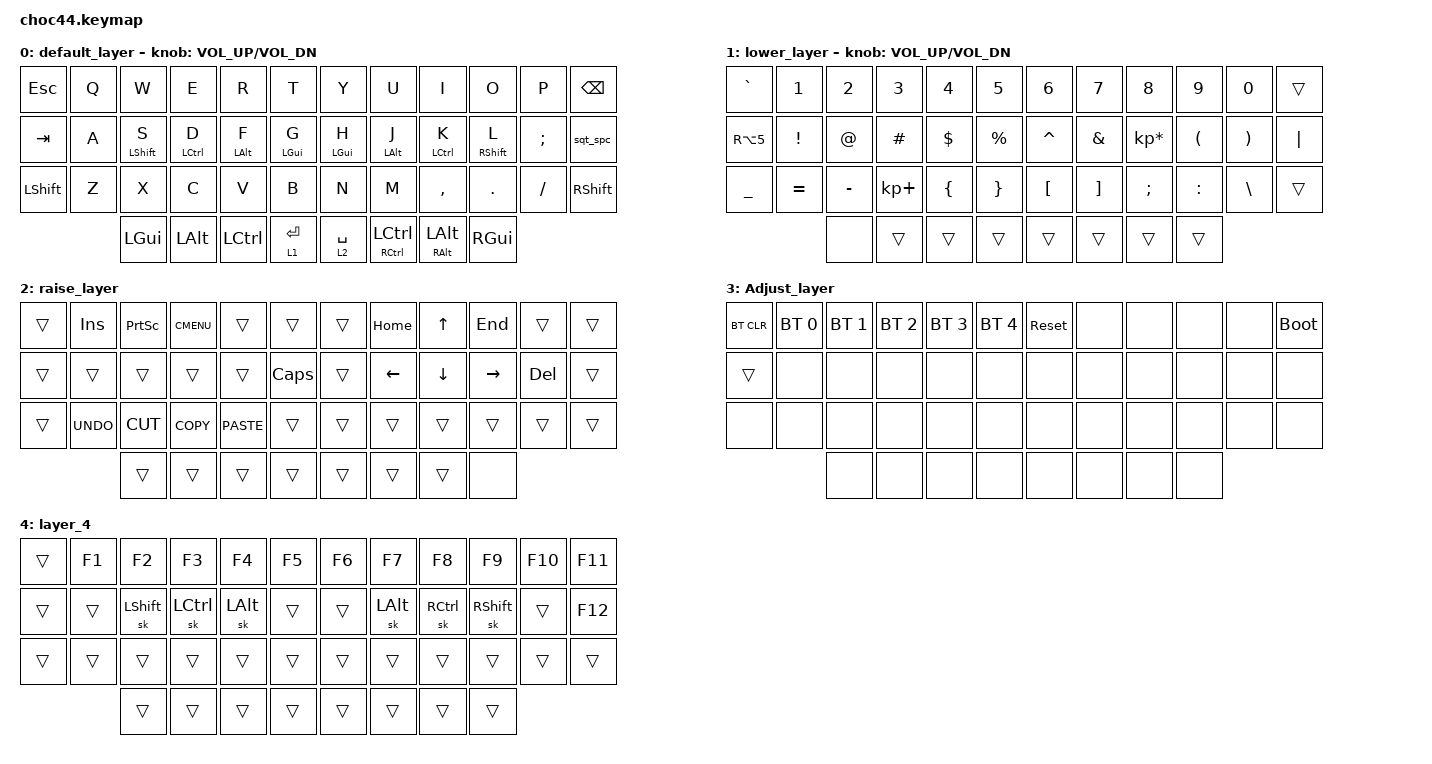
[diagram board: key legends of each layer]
/*
 * Copyright (c) 2020 The ZMK Contributors
 *
 * SPDX-License-Identifier: MIT
 */

#include <behaviors.dtsi>
#include <dt-bindings/zmk/bt.h>
#include <dt-bindings/zmk/keys.h>

#define BASE 0
#define LOWER 1
#define RAISE 2
#define ADJUST 3

&sl { ignore-modifiers; };

/ {
    conditional_layers {
        compatible = "zmk,conditional-layers";

        adjust_layer {
            if-layers = <1 2>;
            then-layer = <3>;
        };
    };

    combos {
        compatible = "zmk,combos";

        ae_umlaut {
            bindings = <&kp RA(Q)>;
            key-positions = <13 14>;
            layers = <0>;
            timeout-ms = <30>;
        };

        szet {
            bindings = <&kp RA(S)>;
            key-positions = <14 15>;
            timeout-ms = <30>;
        };

        ue_umlaut {
            bindings = <&kp RA(Y)>;
            key-positions = <7 8>;
            timeout-ms = <30>;
        };

        oe_umlaut {
            bindings = <&kp RA(P)>;
            key-positions = <9 10>;
            timeout-ms = <30>;
        };

        f13 {
            bindings = <&kp F13>;
            key-positions = <2 1>;
            timeout-ms = <30>;
        };

        f14 {
            bindings = <&kp F14>;
            key-positions = <3 2>;
            timeout-ms = <30>;
        };

        f15 {
            bindings = <&kp F15>;
            key-positions = <3 4>;
            timeout-ms = <30>;
        };

        f16 {
            bindings = <&kp F16>;
            key-positions = <4 5>;
            timeout-ms = <30>;
        };

        sticky_f_layer {
            bindings = <&sl 4>;
            key-positions = <31 32>;
        };

        sticky_nums {
            bindings = <&sl 1>;
            key-positions = <28 27>;
        };
    };

    macros {
        sqt_spc: sqt_spc {
            compatible = "zmk,behavior-macro";
            #binding-cells = <0>;
            bindings = <&kp SINGLE_QUOTE &kp SPACE>;
            label = "SQT_SPC";
        };
    };

    behaviors {
        hkp_sk: hkp_sk {
            compatible = "zmk,behavior-hold-tap";
            label = "HKP_SK";
            bindings = <&kp>, <&sk>;

            #binding-cells = <2>;
            tapping-term-ms = <200>;
            flavor = "tap-preferred";
        };

        homerow_mods: homerow_mods {
            compatible = "zmk,behavior-hold-tap";
            label = "HOMEROW_MODS";
            bindings = <&kp>, <&kp>;

            #binding-cells = <2>;
            flavor = "tap-preferred";
            require-prior-idle-ms = <125>;
            quick-tap-ms = <200>;
            tapping-term-ms = <200>;
        };
    };

    keymap {
        compatible = "zmk,keymap";

        default_layer {
            // ------------------------------------------------------------------------------------------------------------
            // |  ESC  |  Q  |  W  |  E   |  R   |  T   |                   |  Y   |  U    |  I    |  O   |   P   | BKSPC |
            // |  TAB  |  A  |  S  |  D   |  F   |  G   |                   |  H   |  J    |  K    |  L   |   ;   |   '   |
            // | SHIFT |  Z  |  X  |  C   |  V   |  B   |                   |  N   |  M    |  ,    |  .   |   /   | SHIFT |
            //               | GUI | ALT  | CTRL | LOWER|                   | RAISE| CTRL  | ALT   | GUI  |

            bindings = <
&kp ESC    &kp Q  &kp W                       &kp E                  &kp R                     &kp T                       &kp Y                     &kp U                     &kp I                       &kp O                        &kp P     &kp BSPC
&kp TAB    &kp A  &homerow_mods LEFT_SHIFT S  &homerow_mods LCTRL D  &homerow_mods LEFT_ALT F  &homerow_mods LEFT_GUI G    &homerow_mods LEFT_GUI H  &homerow_mods LEFT_ALT J  &homerow_mods LCTRL K       &homerow_mods RIGHT_SHIFT L  &kp SEMI  &sqt_spc
&kp LSHFT  &kp Z  &kp X                       &kp C                  &kp V                     &kp B                       &kp N                     &kp M                     &kp COMMA                   &kp DOT                      &kp FSLH  &kp RSHFT
                  &kp LGUI                    &kp LALT               &kp LCTRL                 &lt 1 ENTER                 &lt 2 SPACE               &hkp_sk RCTRL LCTRL       &hkp_sk RIGHT_ALT LEFT_ALT  &kp RGUI
            >;

            sensor-bindings = <&inc_dec_kp C_VOL_UP C_VOL_DN>;
        };

        lower_layer {
            // TODO: Some binds are waiting for shifted keycode support.
            // ------------------------------------------------------------------------------------------------------------
            // | `     |   1 |   2 |   3  |   4  |   5  |                   |   6  |   7   |   8   |   9  |    0  |  F12  |
            // |       |  !  |  @  |  #   |  $   |  %   |                   |  ^   |  &    |  *    |  (   |   )   |   |   |
            // |       |  =  |  -  |  +   |  {   |  }   |                   |  [   |  ]    |  ;    |  :   |   \   |       |
            //               |     |      |      |      |                   |      |       |       |      |

            bindings = <
&kp GRAVE       &kp N1     &kp N2     &kp N3       &kp N4    &kp N5       &kp N6     &kp N7    &kp N8           &kp N9     &kp N0    &trans
&kp RA(N5)      &kp EXCL   &kp AT     &kp HASH     &kp DLLR  &kp PRCNT    &kp CARET  &kp AMPS  &kp KP_MULTIPLY  &kp LPAR   &kp RPAR  &kp PIPE
&kp UNDERSCORE  &kp EQUAL  &kp MINUS  &kp KP_PLUS  &kp LBRC  &kp RBRC     &kp LBKT   &kp RBKT  &kp SEMI         &kp COLON  &kp BSLH  &trans
                           &none      &trans       &trans    &trans       &trans     &trans    &trans           &trans
            >;

            sensor-bindings = <&inc_dec_kp C_VOL_UP C_VOL_DN>;
        };

        raise_layer {
            // ------------------------------------------------------------------------------------------------------------
            // |     | INS  | PSCR | GUI   |       |      |                | PGUP |      |   ^   |      |       |       |
            // |     | ALT  | CTRL | SHIFT |       | CAPS |                | PGDN |   <- |   v   |  ->  |  DEL  | BKSPC |
            // |     | UNDO | CUT  | COPY  | PASTE |      |                |      |      |       |      |       |       |
            //              |      |       |       |      |                |      |      |       |      |

            bindings = <
&trans  &kp INS     &kp PSCRN  &kp K_CMENU  &trans       &trans      &trans  &kp HOME  &kp UP    &kp END    &trans   &trans
&trans  &trans      &trans     &trans       &trans       &kp CLCK    &trans  &kp LEFT  &kp DOWN  &kp RIGHT  &kp DEL  &trans
&trans  &kp K_UNDO  &kp K_CUT  &kp K_COPY   &kp K_PASTE  &trans      &trans  &trans    &trans    &trans     &trans   &trans
                    &trans     &trans       &trans       &trans      &trans  &trans    &trans    &none
            >;
        };

        // ------------------------------------------------------------------------------------------------------------
        // |BTCLR | BT1   | BT2   |  BT3  |  BT4  |  BT5  |                |      |      |       |      |       |       |
        // |      |       |       |       |       |       |                |      |      |       |      |       |       |
        // |      |       |       |       |       |       |                |      |      |       |      |       |       |
        //                |       |       |       |       |                |      |      |       |      |

        Adjust_layer {
            bindings = <
&bt BT_CLR  &bt BT_SEL 0  &bt BT_SEL 1  &bt BT_SEL 2  &bt BT_SEL 3  &bt BT_SEL 4    &sys_reset  &none  &none  &none  &none  &bootloader
&trans      &none         &none         &none         &none         &none           &none       &none  &none  &none  &none  &none
&none       &none         &none         &none         &none         &none           &none       &none  &none  &none  &none  &none
                          &none         &none         &none         &none           &none       &none  &none  &none
            >;
        };

        layer_4 {
            bindings = <
&trans  &kp F1  &kp F2     &kp F3     &kp F4        &kp F5    &kp F6  &kp F7        &kp F8     &kp F9           &kp F10  &kp F11
&trans  &trans  &sk LSHFT  &sk LCTRL  &sk LEFT_ALT  &trans    &trans  &sk LEFT_ALT  &sk RCTRL  &sk RIGHT_SHIFT  &trans   &kp F12
&trans  &trans  &trans     &trans     &trans        &trans    &trans  &trans        &trans     &trans           &trans   &trans
                &trans     &trans     &trans        &trans    &trans  &trans        &trans     &trans
            >;
        };
    };
};
